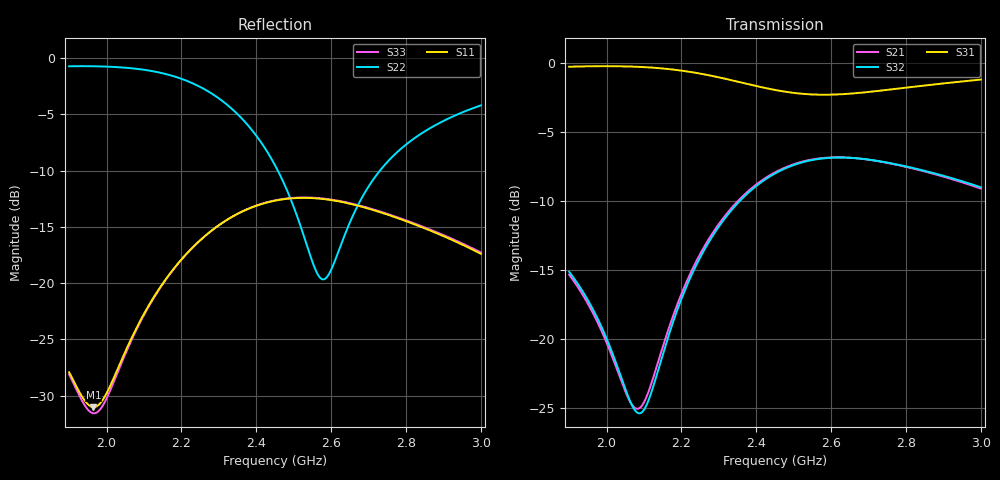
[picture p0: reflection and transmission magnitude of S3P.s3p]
! C23 board, ports J2 L2 L3
# Hz S RI R 50
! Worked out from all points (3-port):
!   1101 points, 1.9 GHz to 3 GHz, reference 50 ohm
!   strongest paths, dB at 1.9 GHz, 2.175 GHz, 2.45 GHz, 2.725 GHz, 3 GHz:
!     S31: -0.3, -0.5, -2.0, -2.0, -1.2
!     S32: -15.1, -19.0, -8.0, -7.1, -9.0
!     S21: -15.3, -18.5, -7.9, -7.1, -9.1
!   lowest |S11| = -31.0 dB at 1.965 GHz (marker M1), VSWR 1.06, Z = 47.3 + j0.474 ohm
!   |S11| at or under -10 dB: start of sweep to end of sweep
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1.9e9  -0.0258 0.0308  -0.041 0.1708  0.9598 -0.1295
       -0.0404 0.1662  0.8627 0.3159  -0.0517 0.1627
       0.9596 -0.1294  -0.0519 0.1674  -0.0289 0.0268
1.965e9  -0.0277 0.005  -0.0342 0.1231  0.9593 -0.161
         -0.0342 0.1183  0.8915 0.2234  -0.0415 0.1151
         0.9589 -0.1608  -0.0415 0.1201  -0.0264 0.000642
2.063e9  -0.0421 -0.0359  -0.0446 0.0429  0.9473 -0.2114
         -0.0454 0.038  0.8997 0.0606  -0.0457 0.0335
         0.9467 -0.2112  -0.0451 0.0387  -0.0333 -0.0428
2.094e9  -0.0504 -0.0486  -0.0549 0.0163  0.9398 -0.2276
         -0.0561 0.0114  0.8895 0.00401  -0.0538 0.00581
         0.9391 -0.2273  -0.0531 0.011  -0.0391 -0.0571
2.256e9  -0.1285 -0.0924  -0.1833 -0.0942  0.8641 -0.2932
         -0.1859 -0.0979  0.6848 -0.2671  -0.1721 -0.1174
         0.8631 -0.2924  -0.1705 -0.1125  -0.1068 -0.1167
2.353e9  -0.1882 -0.0795  -0.3011 -0.0923  0.8019 -0.2953
         -0.3038 -0.0946  0.4575 -0.3173  -0.2897 -0.1278
         0.8009 -0.2941  -0.2878 -0.1234  -0.1675 -0.1176
2.45e9  -0.2299 -0.0351  -0.3986 -0.023  0.754 -0.2644
        -0.4005 -0.0242  0.2403 -0.232  -0.3936 -0.0699
        0.7533 -0.2629  -0.3921 -0.066  -0.2174 -0.0844
2.581e9  -0.2331 0.0386  -0.4366 0.1201  0.7399 -0.2034
         -0.4366 0.1193  0.1027 0.017  -0.4465 0.0664
         0.7396 -0.2017  -0.4457 0.0701  -0.2369 -0.0154
2.748e9  -0.1812 0.0898  -0.36 0.2483  0.7816 -0.1612
         -0.3584 0.2464  0.1861 0.2873  -0.3852 0.1994
         0.7817 -0.1598  -0.3854 0.2037  -0.199 0.0439
3e9  -0.1055 0.0844  -0.209 0.2875  0.8516 -0.1787
     -0.2069 0.2829  0.447 0.4237  -0.2421 0.2522
     0.8515 -0.1777  -0.2427 0.258  -0.1256 0.0546
